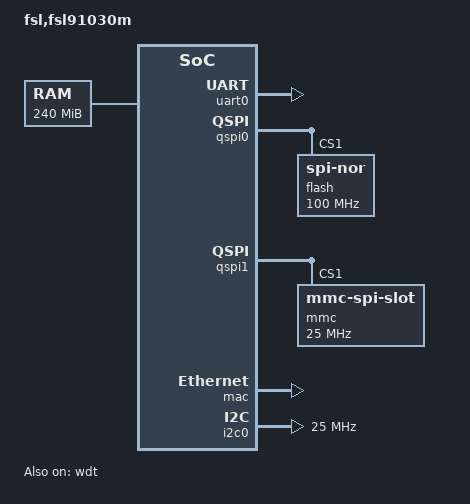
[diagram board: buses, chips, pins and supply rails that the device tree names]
/dts-v1/;

#ifndef TIMERCLK_FREQ
#define TIMERCLK_FREQ       48828
#endif
#ifndef CPUCLK_FREQ
#define CPUCLK_FREQ         400000000
#endif
#ifndef PERIPHCLK_FREQ
#define PERIPHCLK_FREQ      200000000
#endif

/ {
  #address-cells = <2>;
  #size-cells = <2>;
  compatible = "fsl,fsl91030m";
  model = "fsl,fsl91030m";

  chosen {
      bootargs = "earlycon=sbi console=ttyNUC0";
      stdout-path = "serial0";
  };

  aliases {
    serial0 = &uart0;
    serial1 = &uart1;
  };

  cpus {
    #address-cells = <1>;
    #size-cells = <0>;
    timebase-frequency = <TIMERCLK_FREQ>;
    cpu0: cpu@0 {
      device_type = "cpu";
      reg = <0>;
      status = "okay";
      compatible = "riscv";
      riscv,isa = "rv64imac";
      mmu-type = "riscv,sv39";
      clock-frequency = <CPUCLK_FREQ>;
      cpu0_intc: interrupt-controller {
        #interrupt-cells = <1>;
        interrupt-controller;
        compatible = "riscv,cpu-intc";
      };
    }; 
  };

  memory@41000000 {
    device_type = "memory";
    reg = <0x0 0x41000000 0x0 0x0f000000>;
  };

  soc {
    #address-cells = <2>;
    #size-cells = <2>;
    compatible = "nuclei,fsl91030m", "simple-bus";
    ranges;
  };

  /* Used for Uboot SBI Console */
  console {
    compatible = "sbi,console";
  };

  hfclk: hfclk {
    #clock-cells = <0>;
    compatible = "fixed-clock";
    clock-frequency = <200000000>;
    clock-output-names = "hfclk";
  };

  hfclk2: hfclk2 {
    #clock-cells = <0>;
    compatible = "fixed-clock";
    clock-frequency = <100000000>;
    clock-output-names = "hfclk2";
  };

  plic0: interrupt-controller@8000000 {
    #interrupt-cells = <1>;
    compatible = "riscv,plic0";
    interrupt-controller;
    riscv,ndev = <53>;
    interrupts-extended =
          <&cpu0_intc 11 &cpu0_intc 9>;
    reg = <0x0 0x8000000 0x0 0x4000000>;
  };

  clint0: clint@2001000 {
    #interrupt-cells = <1>;
    compatible = "riscv,clint0";
    reg = <0x0 0x2001000 0x0 0xC000>;
    interrupts-extended =
          <&cpu0_intc 3 &cpu0_intc 7>;
    clocks = <&hfclk>;
  };

  uart0: serial@10013000 {
    compatible = "nuclei,uart0";
    reg = <0x0 0x10013000 0x0 0x1000>;
    interrupt-parent = <&plic0>;
    interrupts = <2>;
    clocks = <&hfclk2>;
    clock-frequency = <100000000>;
    status = "okay";
  };

  uart1: serial@10012000 {
    compatible = "nuclei,uart0";
    reg = <0x0 0x10012000 0x0 0x1000>;
    interrupt-parent = <&plic0>;
    interrupts = <3>;
    clocks = <&hfclk2>;
    clock-frequency = <PERIPHCLK_FREQ>;
    status = "disabled";
  };

  qspi0: spi@10014000 {
    compatible = "nuclei,spi0";
    reg = <0x0 0x10014000 0x0 0x1000>;
    interrupt-parent = <&plic0>;
    interrupts = <5>;
    clocks = <&hfclk2>;
    num-cs = <2>;
    #address-cells = <1>;
    #size-cells = <0>;
    status = "okay";

    flash@1 {
      compatible = "jedec,spi-nor";
      reg = <1>;
      spi-max-frequency = <100000000>;
      m25p,fast-read;
      spi-tx-bus-width = <1>;
      spi-rx-bus-width = <1>;
    };
  };

  qspi1: spi@10016000 {
    compatible = "nuclei,spi0";
    reg = <0x0 0x10016000 0x0 0x1000>;
    interrupt-parent = <&plic0>;
    interrupts = <6>;
    clocks = <&hfclk2>;
    num-cs = <2>;
    #address-cells = <1>;
    #size-cells = <0>;
    status = "okay";

    mmc@1 {
      compatible = "mmc-spi-slot";
      reg = <1>;
      spi-max-frequency = <25000000>;
      voltage-ranges = <3300 3300>;
      disable-wp;
    };
  };

  mac: ethernet@67800000 {
    compatible = "fsl,fsl-mac";
    reg = <0x0 0x67800000 0x0 0x1000>;
    interrupt-parent = <&plic0>;
    interrupts = <10>,<11>,<12>;
    clocks = <&hfclk>;
    num-cs = <1>;
    #address-cells = <1>;
    #size-cells = <0>;
    status = "okay";
  };

  gpio: gpio@10011000 {
    compatible = "nuclei,gpio0";
    interrupt-parent = <&plic0>;
    interrupts = <1>;
    reg = <0x0 0x10011000 0x0 0x1000>;
    gpio-controller;
    #gpio-cells = <2>;
    interrupt-controller;
    #interrupt-cells = <2>;
    clocks = <&hfclk>;
    status = "disabled";
  };

  i2c0: ocores@10018000 {
    compatible = "opencores,i2c-ocores";
    #address-cells = <1>;
    #size-cells = <0>;
    interrupt-parent = <&plic0>;
    interrupts = <4>;
    reg = <0x0 0x10018000 0x0 0x1000>;
    clock-frequency = <25000000>;
  };

  wdt: watchdog@68000000 {
    compatible = "riscv,fsl-wdt";
    reg = <0x0 0x68000000 0x0 0x20>;
    interrupt-parent = <&plic0>;
    interrupts = <8>;
    clocks = <&hfclk>;
    status = "okay";
  };
};
